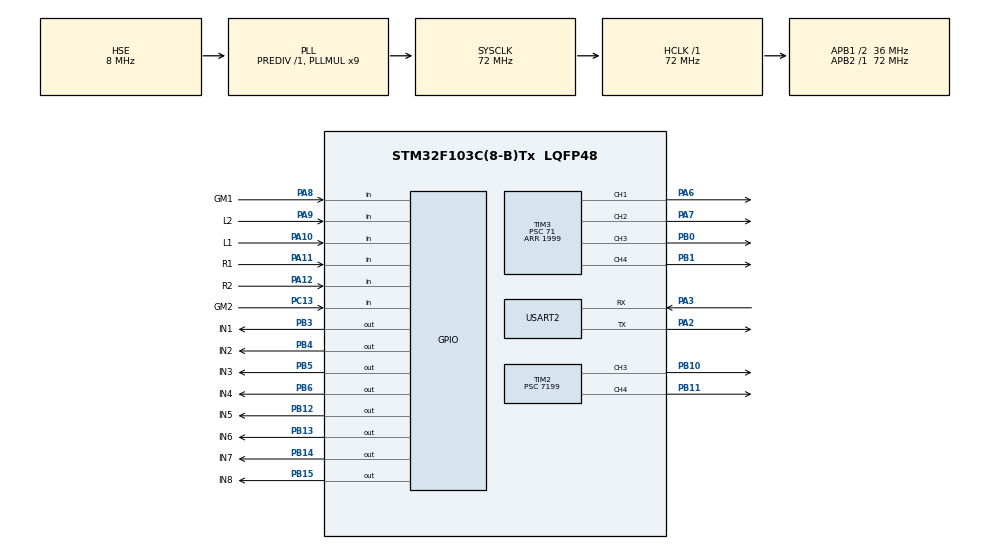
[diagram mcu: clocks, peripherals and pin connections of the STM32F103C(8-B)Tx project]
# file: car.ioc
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Mcu.Family=STM32F1
Mcu.Name=STM32F103C(8-B)Tx
Mcu.Package=LQFP48
NVIC.PriorityGroup=NVIC_PRIORITYGROUP_4
NVIC.TIM4_IRQn=true\:0\:0\:false\:false\:true\:true\:true\:true
NVIC.USART2_IRQn=true\:0\:0\:false\:false\:true\:true\:true\:true
PA10.GPIO_Label=L1
PA10.GPIO_PuPd=GPIO_PULLUP
PA10.Signal=GPIO_Input
PA11.GPIO_Label=R1
PA11.GPIO_PuPd=GPIO_PULLUP
PA11.Signal=GPIO_Input
PA12.GPIO_Label=R2
PA12.GPIO_PuPd=GPIO_PULLUP
PA12.Signal=GPIO_Input
PA13.Mode=Serial_Wire
PA13.Signal=SYS_JTMS-SWDIO
PA14.Mode=Serial_Wire
PA14.Signal=SYS_JTCK-SWCLK
PA2.Mode=Asynchronous
PA2.Signal=USART2_TX
PA3.Mode=Asynchronous
PA3.Signal=USART2_RX
PA6.Signal=S_TIM3_CH1
PA7.Signal=S_TIM3_CH2
PA8.GPIO_Label=GM1
PA8.GPIO_PuPd=GPIO_PULLUP
PA8.Signal=GPIO_Input
PA9.GPIO_Label=L2
PA9.GPIO_PuPd=GPIO_PULLUP
PA9.Signal=GPIO_Input
PB0.Signal=S_TIM3_CH3
PB1.Signal=S_TIM3_CH4
PB10.Signal=S_TIM2_CH3
PB11.Signal=S_TIM2_CH4
PB12.GPIO_Label=IN5
PB12.Signal=GPIO_Output
PB13.GPIO_Label=IN6
PB13.Signal=GPIO_Output
PB14.GPIO_Label=IN7
PB14.Signal=GPIO_Output
PB15.GPIO_Label=IN8
PB15.Signal=GPIO_Output
PB3.GPIO_Label=IN1
PB3.Signal=GPIO_Output
PB4.GPIO_Label=IN2
PB4.Signal=GPIO_Output
PB5.GPIO_Label=IN3
PB5.Signal=GPIO_Output
PB6.GPIO_Label=IN4
PB6.Signal=GPIO_Output
PC13-TAMPER-RTC.GPIO_Label=GM2
PC13-TAMPER-RTC.GPIO_PuPd=GPIO_PULLUP
PC13-TAMPER-RTC.Signal=GPIO_Input
PD0-OSC_IN.Mode=HSE-External-Oscillator
PD0-OSC_IN.Signal=RCC_OSC_IN
PD1-OSC_OUT.Mode=HSE-External-Oscillator
PD1-OSC_OUT.Signal=RCC_OSC_OUT
ProjectManager.HeapSize=0x200
ProjectManager.StackSize=0x400
ProjectManager.TargetToolchain=MDK-ARM V5
RCC.AHBFreq_Value=72000000
RCC.APB1CLKDivider=RCC_HCLK_DIV2
RCC.APB1Freq_Value=36000000
RCC.APB1TimFreq_Value=72000000
RCC.APB2Freq_Value=72000000
RCC.APB2TimFreq_Value=72000000
RCC.HCLKFreq_Value=72000000
RCC.PLLMUL=RCC_PLL_MUL9
RCC.PLLSourceVirtual=RCC_PLLSOURCE_HSE
RCC.SYSCLKFreq_VALUE=72000000
RCC.SYSCLKSource=RCC_SYSCLKSOURCE_PLLCLK
RCC.USBFreq_Value=72000000
SH.S_TIM2_CH3.0=TIM2_CH3,PWM Generation3 CH3
SH.S_TIM2_CH4.0=TIM2_CH4,PWM Generation4 CH4
SH.S_TIM3_CH1.0=TIM3_CH1,PWM Generation1 CH1
SH.S_TIM3_CH2.0=TIM3_CH2,PWM Generation2 CH2
SH.S_TIM3_CH3.0=TIM3_CH3,PWM Generation3 CH3
SH.S_TIM3_CH4.0=TIM3_CH4,PWM Generation4 CH4
TIM2.Channel-PWM\ Generation3\ CH3=TIM_CHANNEL_3
TIM2.Channel-PWM\ Generation4\ CH4=TIM_CHANNEL_4
TIM2.Period=199
TIM2.Prescaler=7199
TIM3.Channel-PWM\ Generation1\ CH1=TIM_CHANNEL_1
TIM3.Channel-PWM\ Generation2\ CH2=TIM_CHANNEL_2
TIM3.Channel-PWM\ Generation3\ CH3=TIM_CHANNEL_3
TIM3.Channel-PWM\ Generation4\ CH4=TIM_CHANNEL_4
TIM3.Period=1999
TIM3.Prescaler=71
TIM4.AutoReloadPreload=TIM_AUTORELOAD_PRELOAD_ENABLE
TIM4.Period=9999
TIM4.Prescaler=7199
USART2.VirtualMode=VM_ASYNC
VP_TIM4_VS_ClockSourceINT.Mode=Internal
board=custom

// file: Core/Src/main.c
/* USER CODE BEGIN Header */
/* * * * * * * * * * * * * * * * * * * * * * * * * * * * * * * * * * * * * * *
 *
 *
 *      * * * *     * * * *    * *     * *    * * * *      	  * * *
 *      *	   *    *	   *   *  *   *  *    *      *       *
 *		* * * *     * * * *    *   * *   *    * * * *      **
 *		*      *    *  *       *    *    *    *      *     *
 *		*       *   *   *      *         *    *       *    **
 *		*      *    *    *     *         *    *      *     	 *
 *		* * * *     *     *    *         *    * * * *         * * *
 *
 *
 * * * * * * * * * * * * * * * * * * * * * * * * * * * * * * * * * * * * * * */

/**
  ******************************************************************************
  * @file           : main.c
  * @brief          : Main program body
  ******************************************************************************
  * @attention
  *
  * Copyright (c) 2023 STMicroelectronics.
  * All rights reserved.
  *
  * This software is licensed under terms that can be found in the LICENSE file
  * in the root directory of this software component.
  * If no LICENSE file comes with this software, it is provided AS-IS.
  *
  ******************************************************************************
  */
/* USER CODE END Header */
#include "main.h"
#include "tim.h"
#include "usart.h"
#include "gpio.h"

/* USER CODE BEGIN Includes */
#include "motor.h"
/* USER CODE END Includes */

void SystemClock_Config(void);
/* USER CODE BEGIN PFP */
uint8_t n=0,m=0;
uint16_t a=0,b=0,c=0,d=0,g=0,s=0;
int t=0,x=0,y=0,l=0;
uint8_t buff;
void HAL_UART_RxCpltCallback(UART_HandleTypeDef *huart)//串口接收中断
{
	if(huart==&huart2)
	{
		switch(buff)
		{
			case 0x61:
			{
				car_go_left(999);
				break;
			}
			case 0x64:
			{
				car_go_right(999);
				break;
			}
			case 0x67:
			{
				DJ_go();
				break;
			}
			case 0x68:
			{
				DJ_stop();
				break;
			}
			case 0x72:
			{
				car_track_left(1499);
				break;
			}
			case 0x73:
			{
				car_go_stop();
				break;
			}
			case 0x74:
			{
				car_go_redright(1499);
				break;
			}
			case 0x77:
			{
				car_go_straight(1699);
				break;
			}
		}
//		if(buff==0x61)
//			car_go_left(999);
//		else if(buff==0x64)
//			car_go_right(999);
//		else if(buff==0x72)
//			car_track_left(899);
//		else if(buff==0x73)
//			car_go_stop();
//		else if(buff==0x77)
//			car_go_straight(1999);
//		else if(buff==0x68)
//			DJ_stop();
//		else if(buff==0x67)
//			DJ_go();
//		else
//		{
//			car_go_straight(1999);
//		}
	}
}
void HAL_TIM_PeriodElapsedCallback(TIM_HandleTypeDef *htim)//计时并定时前进
{
	if(htim == &htim4)
    {
		t=t+1;
		if(t>44)
		{
			car_go_straight(1499);
		}
    }
}
/* USER CODE END PFP */

int main(void)
{

  /* MCU Configuration--------------------------------------------------------*/

  /* Reset of all peripherals, Initializes the Flash interface and the Systick. */
  HAL_Init();

  /* Configure the system clock */
  SystemClock_Config();

  /* Initialize all configured peripherals */
  MX_GPIO_Init();
  MX_TIM2_Init();
  MX_TIM3_Init();
  MX_USART2_UART_Init();
  MX_TIM4_Init();
  PWM_INIT();

  /* Infinite loop */
  while (1)
  {
    /* USER CODE BEGIN 3 */
//	  car_track_left(1499);
//	  car_go_straight(1099);
//	  HAL_Delay(1000);
//	  car_go_stop();
//	  HAL_Delay(100);
//	  car_go_straight(1999);
//	  HAL_Delay(1000);
//	  car_go_stop();
//	  car_go_straight(599);
//	  HAL_Delay(1000);
//	  car_go_stop();
//	  car_go_left(1499);
//	  car_go_right(1499);
//	  HAL_Delay(1000);
//	  car_go_stop();
// 	  DJ_go();
	a=HAL_GPIO_ReadPin(L2_GPIO_Port,L2_Pin);
	b=HAL_GPIO_ReadPin(L1_GPIO_Port,L1_Pin);
	c=HAL_GPIO_ReadPin(R1_GPIO_Port,R1_Pin);
	d=HAL_GPIO_ReadPin(R2_GPIO_Port,R2_Pin);
	g=HAL_GPIO_ReadPin(GM1_GPIO_Port,GM1_Pin);
	s=HAL_GPIO_ReadPin(GM2_GPIO_Port,GM2_Pin);
	if(n==0&&g==0)//非接触启动(视觉)
	{
		HAL_GPIO_DeInit(GM1_GPIO_Port,GM1_Pin);
		n=1;
		l=1;
	}
	if(n==0&&s==0)//非接触启动(固定)
	{
		HAL_GPIO_DeInit(GM2_GPIO_Port,GM2_Pin);
		n=1;
		l=2;
	}
	if(n==1&&m==0)//进场
	{
		HAL_TIM_Base_Start_IT(&htim4);
		car_go_straight(1399);
		HAL_Delay(510);
		car_go_stop();
		HAL_Delay(10);
		car_go_right(1299);
		HAL_Delay(500);
		car_go_stop();
		HAL_Delay(10);
		car_go_straight(999);
		HAL_Delay(200);
		n=2;
	}
	else if(n==2&&m==0)//循迹
	{
		if((HAL_GPIO_ReadPin(L2_GPIO_Port,L2_Pin)==1)&&(HAL_GPIO_ReadPin(L1_GPIO_Port,L1_Pin)==0)&&(HAL_GPIO_ReadPin(R1_GPIO_Port,R1_Pin)==0))
		{
			car_go_straight(999);
		}
		else if((HAL_GPIO_ReadPin(L2_GPIO_Port,L2_Pin)==1)&&(HAL_GPIO_ReadPin(L1_GPIO_Port,L1_Pin)==1)&&(HAL_GPIO_ReadPin(R1_GPIO_Port,R1_Pin)==0))
		{
			car_go_right(999);
		}
		else if((HAL_GPIO_ReadPin(L2_GPIO_Port,L2_Pin)==1)&&(HAL_GPIO_ReadPin(L1_GPIO_Port,L1_Pin)==0)&&(HAL_GPIO_ReadPin(R1_GPIO_Port,R1_Pin)==1))
		{
			car_go_left(999);
		}
		else if((HAL_GPIO_ReadPin(L2_GPIO_Port,L2_Pin)==0)&&(HAL_GPIO_ReadPin(L1_GPIO_Port,L1_Pin)==0)&&(HAL_GPIO_ReadPin(R1_GPIO_Port,R1_Pin)==0))
		{
			car_go_after(1649);
			HAL_Delay(1);
			car_track_left(1499);
		}
		else if((HAL_GPIO_ReadPin(L2_GPIO_Port,L2_Pin)==0)&&(HAL_GPIO_ReadPin(L1_GPIO_Port,L1_Pin)==1)&&(HAL_GPIO_ReadPin(R1_GPIO_Port,R1_Pin)==1)&&t<5)
		{
			car_go_left(1499);
		}
		else if((HAL_GPIO_ReadPin(L2_GPIO_Port,L2_Pin)==1)&&(HAL_GPIO_ReadPin(L1_GPIO_Port,L1_Pin)==1)&&(HAL_GPIO_ReadPin(R1_GPIO_Port,R1_Pin)==1)&&t>36)//进场扎气球
		{
			HAL_TIM_Base_Stop_IT(&htim4);
			car_go_straight(999);
			HAL_Delay(130);
			car_go_left(1499);
			HAL_Delay(700);
			car_go_stop();
			HAL_Delay(1);
			car_go_straight(1499);
			HAL_Delay(260);
			car_go_stop();
			HAL_Delay(10);
			HAL_TIM_Base_Start_IT(&htim4);
			m=1;
		}
	}
	else if(m==1&&l==1)//视觉扎气球
	{
//		HAL_UART_Receive_IT(&huart2,&buff,sizeof(buff));
		if(a==0||b==0)
		{
			HAL_TIM_Base_Stop_IT(&htim4);
			car_go_after(1299);
			HAL_Delay(190);
			car_go_right(1499);
			HAL_Delay(740);
			car_go_stop();
			HAL_TIM_Base_Start_IT(&htim4);
		}
		else if(c==0||d==0)
		{
			HAL_TIM_Base_Stop_IT(&htim4);
			car_go_after(1299);
			HAL_Delay(190);
			car_go_left(1499);
			HAL_Delay(740);
			car_go_stop();
			HAL_TIM_Base_Start_IT(&htim4);
		}
		else
		{
			HAL_UART_Receive_IT(&huart2,&buff,sizeof(buff));
		}
	}
	else if(m==1&&l==2)//固定扎气球
	{
		DJ_go();
		if(a==0||b==0)
		{
			HAL_TIM_Base_Stop_IT(&htim4);
			car_go_after(1299);
			HAL_Delay(150);
			car_go_right(1499);
			HAL_Delay(740);
			car_go_stop();
			HAL_TIM_Base_Start_IT(&htim4);
		}
		else if(c==0||d==0)
		{
			HAL_TIM_Base_Stop_IT(&htim4);
			car_go_after(1299);
			HAL_Delay(150);
			car_go_left(1499);
			HAL_Delay(740);
			car_go_stop();
			HAL_TIM_Base_Start_IT(&htim4);
		}
	}
  }
  /* USER CODE END 3 */
}

void SystemClock_Config(void)
{
  RCC_OscInitTypeDef RCC_OscInitStruct = {0};
  RCC_ClkInitTypeDef RCC_ClkInitStruct = {0};

  /** Initializes the RCC Oscillators according to the specified parameters
  * in the RCC_OscInitTypeDef structure.
  */
  RCC_OscInitStruct.OscillatorType = RCC_OSCILLATORTYPE_HSE;
  RCC_OscInitStruct.HSEState = RCC_HSE_ON;
  RCC_OscInitStruct.HSEPredivValue = RCC_HSE_PREDIV_DIV1;
  RCC_OscInitStruct.HSIState = RCC_HSI_ON;
  RCC_OscInitStruct.PLL.PLLState = RCC_PLL_ON;
  RCC_OscInitStruct.PLL.PLLSource = RCC_PLLSOURCE_HSE;
  RCC_OscInitStruct.PLL.PLLMUL = RCC_PLL_MUL9;
  if (HAL_RCC_OscConfig(&RCC_OscInitStruct) != HAL_OK)
  {
    Error_Handler();
  }

  /** Initializes the CPU, AHB and APB buses clocks
  */
  RCC_ClkInitStruct.ClockType = RCC_CLOCKTYPE_HCLK|RCC_CLOCKTYPE_SYSCLK
                              |RCC_CLOCKTYPE_PCLK1|RCC_CLOCKTYPE_PCLK2;
  RCC_ClkInitStruct.SYSCLKSource = RCC_SYSCLKSOURCE_PLLCLK;
  RCC_ClkInitStruct.AHBCLKDivider = RCC_SYSCLK_DIV1;
  RCC_ClkInitStruct.APB1CLKDivider = RCC_HCLK_DIV2;
  RCC_ClkInitStruct.APB2CLKDivider = RCC_HCLK_DIV1;

  if (HAL_RCC_ClockConfig(&RCC_ClkInitStruct, FLASH_LATENCY_2) != HAL_OK)
  {
    Error_Handler();
  }
}

void Error_Handler(void)
{
  __disable_irq();
  while (1)
  {
  }
}
